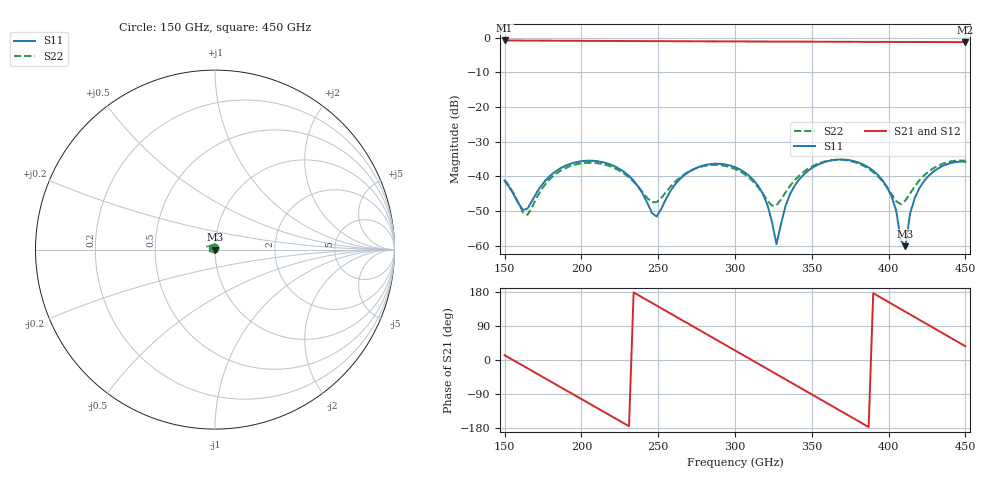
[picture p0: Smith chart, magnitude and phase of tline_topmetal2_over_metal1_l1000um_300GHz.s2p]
#  GHZ S DB R 50
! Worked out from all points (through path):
!   101 points, 150 GHz to 450 GHz, reference 50 ohm
!   highest |S21| = -0.83 dB at 150 GHz (marker M1); lowest = -1.3 dB at 450 GHz (marker M2)
!   group delay of S21, straight-line fit = 6.45 ps
!   lowest |S11| = -60.1 dB at 411 GHz (marker M3), VSWR 1.00, Z = 50 - j0.0957 ohm
!   |S11| at or under -10 dB: start of sweep to end of sweep
!   |S22| runs from -51.0 to -35.2 dB; largest |S21 - S12| = 1e-13
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150  -41.24 133.8  -0.83 12.6  -0.83 12.6  -40.99 135.8
165  -49.18 3.3  -0.86 -22.1  -0.86 -22.1  -51.03 10.3
180  -39.66 -88.0  -0.90 -56.8  -0.90 -56.8  -40.53 -92.0
201  -35.56 -153.1  -0.94 -105.4  -0.94 -105.4  -36.15 -158.2
228  -38.77 127.6  -0.99 -167.8  -0.99 -167.8  -39.25 117.1
246  -50.55 31.1  -1.02 150.5  -1.02 150.5  -47.43 11.0
252  -49.37 -52.8  -1.03 136.6  -1.03 136.6  -46.19 -47.7
261  -42.29 -106.8  -1.05 115.7  -1.05 115.7  -41.55 -100.9
276  -37.33 -155.1  -1.07 80.9  -1.07 80.9  -37.43 -154.6
300  -37.33 139.2  -1.11 25.3  -1.11 25.3  -37.83 131.9
318  -44.89 86.6  -1.14 -16.5  -1.14 -16.5  -44.87 58.7
327  -59.51 -10.1  -1.15 -37.4  -1.15 -37.4  -48.28 -29.6
336  -44.92 -117.5  -1.16 -58.3  -1.16 -58.3  -42.62 -98.5
351  -37.32 -161.4  -1.18 -93.2  -1.18 -93.2  -36.91 -153.8
378  -35.66 130.0  -1.22 -156.0  -1.22 -156.0  -35.90 127.4
393  -39.56 92.1  -1.24 169.1  -1.24 169.1  -39.94 78.5
402  -45.81 67.7  -1.25 148.2  -1.25 148.2  -45.19 31.9
408  -58.45 37.3  -1.26 134.2  -1.26 134.2  -47.99 -29.3
411  -60.08 -104.9  -1.26 127.2  -1.26 127.2  -46.90 -63.1
414  -50.66 -128.9  -1.27 120.2  -1.27 120.2  -44.88 -88.4
423  -41.39 -156.2  -1.28 99.3  -1.28 99.3  -39.76 -133.2
450  -35.74 136.1  -1.32 36.3  -1.32 36.3  -35.48 146.4
